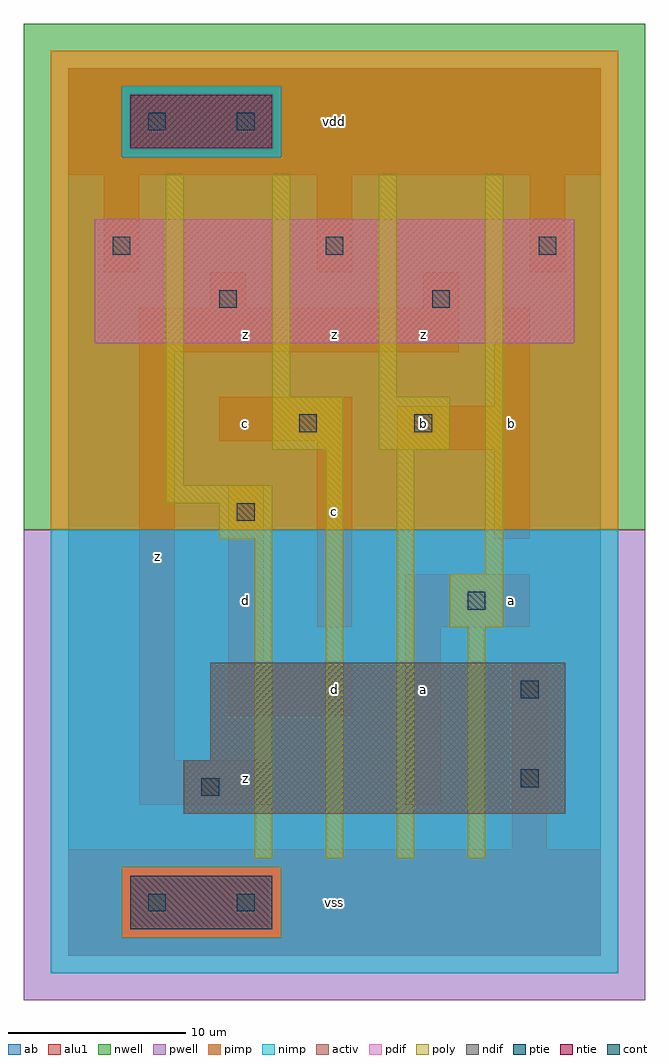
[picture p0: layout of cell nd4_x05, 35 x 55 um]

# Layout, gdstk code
import gdstk
lib = gdstk.Library(unit=1e-6, precision=1e-09)
def R(c, l, rs):  # rectangles x0, y0, x1, y1
    for r in rs: c.add(gdstk.rectangle(r[:2], r[2:], *l))
def A(c, l, x, y, w, h, nx, ny, dx, dy):  # array of equal rectangles
    R(c, l, [(x+i*dx, y+j*dy, x+i*dx+w, y+j*dy+h) for i in range(nx) for j in range(ny)])
ndif = (3, 0)
pdif = (4, 0)
ntie = (5, 0)
ptie = (6, 0)
cont = (25, 0)
pwell = (41, 0)
nwell = (42, 0)
activ = (43, 0)
pimp = (44, 0)
nimp = (45, 0)
poly = (46, 0)
alu1 = (49, 0)
ab = (63, 0)

nd4_x05 = lib.new_cell('nd4_x05')
R(nd4_x05, ndif, [(6.5,8,28,11), (8,11,28,16.5)])
R(nd4_x05, pdif, [(1.5,34.5,28.5,41.5)])
R(nd4_x05, ntie, [(3.5,45.5,11.5,48.5)])
R(nd4_x05, ptie, [(3.5,1.5,11.5,4.5)])
A(nd4_x05, cont, 9.5, 2.5, 1, 1, 1, 3, 0, 22)
A(nd4_x05, cont, 2.5, 39.5, 1, 1, 3, 1, 12, 0)
R(nd4_x05, cont, [(4.5,2.5,5.5,3.5), (7.5,9,8.5,10), (25.5,9.5,26.5,10.5), (25.5,14.5,26.5,15.5), (22.5,19.5,23.5,20.5), (13,29.5,14,30.5), (19.5,29.5,20.5,30.5), (8.5,36.5,9.5,37.5), (20.5,36.5,21.5,37.5), (4.5,46.5,5.5,47.5)])
R(nd4_x05, pwell, [(-2.5,-2.5,32.5,24)])
R(nd4_x05, nwell, [(-2.5,24,32.5,52.5)])
R(nd4_x05, activ, [(3.5,1.5,11.5,4.5), (6.5,8,28,11), (8,11,28,16.5), (1.5,34.5,28.5,41.5), (3.5,45.5,11.5,48.5)])
R(nd4_x05, pimp, [(3,1,12,5), (-1,24,31,45), (-1,45,3,49), (12,45,31,49), (-1,49,31,51)])
R(nd4_x05, nimp, [(-1,-1,31,1), (-1,1,3,5), (12,1,31,5), (-1,5,31,24), (3,45,12,49)])
R(nd4_x05, poly, [(10.5,5.5,11.5,23.5), (14.5,5.5,15.5,28.5), (18.5,5.5,19.5,28.5), (22.5,5.5,23.5,18.5), (21.5,18.5,24.5,21.5), (23.5,21.5,24.5,44), (8.5,23.5,11.5,25.5), (5.5,25.5,11.5,26.5), (5.5,26.5,6.5,44), (11.5,28.5,15.5,31.5), (17.5,28.5,21.5,31.5), (11.5,31.5,12.5,44), (17.5,31.5,18.5,44)])
R(nd4_x05, alu1, [(0,0,30,6), (0,0,30,6), (25,6,27,16.5), (25,6,27,16.5), (4,8.5,11.5,11), (4,8.5,11.5,11), (19,8.5,21,18.5), (19,8.5,21,18.5), (4,11,6,34), (4,11,6,34), (9,13.5,16,16.5), (9,13.5,16,16.5), (9,16.5,11,26.5), (9,16.5,11,26.5), (14,18.5,16,29), (14,18.5,16,29), (19,18.5,26,21.5), (19,18.5,26,21.5), (24,23.5,26,28.5), (24,23.5,26,28.5), (18.5,28.5,26,31), (18.5,28.5,26,31), (8.5,29,16,31.5), (8.5,29,16,31.5), (24,31,26,36.5), (24,31,26,36.5), (4,34,22,36.5), (4,34,22,36.5), (8,36.5,10,38.5), (8,36.5,10,38.5), (20,36.5,22,38.5), (20,36.5,22,38.5), (2,38.5,4,44), (2,38.5,4,44), (14,38.5,16,44), (14,38.5,16,44), (26,38.5,28,44), (26,38.5,28,44), (0,44,30,50), (0,44,30,50)])
R(nd4_x05, ab, [(0,0,30,50)])
nd4_x05.add(gdstk.Label('z', (5,22.5), layer=49, texttype=0))
nd4_x05.add(gdstk.Label('z', (10,10), layer=49, texttype=0))
nd4_x05.add(gdstk.Label('d', (10,20), layer=49, texttype=0))
nd4_x05.add(gdstk.Label('z', (10,35), layer=49, texttype=0))
nd4_x05.add(gdstk.Label('c', (10,30), layer=49, texttype=0))
nd4_x05.add(gdstk.Label('vss', (15,3), layer=49, texttype=0))
nd4_x05.add(gdstk.Label('d', (15,15), layer=49, texttype=0))
nd4_x05.add(gdstk.Label('a', (20,15), layer=49, texttype=0))
nd4_x05.add(gdstk.Label('c', (15,25), layer=49, texttype=0))
nd4_x05.add(gdstk.Label('z', (15,35), layer=49, texttype=0))
nd4_x05.add(gdstk.Label('z', (20,35), layer=49, texttype=0))
nd4_x05.add(gdstk.Label('b', (20,30), layer=49, texttype=0))
nd4_x05.add(gdstk.Label('vdd', (15,47), layer=49, texttype=0))
nd4_x05.add(gdstk.Label('a', (25,20), layer=49, texttype=0))
nd4_x05.add(gdstk.Label('b', (25,30), layer=49, texttype=0))

lib.write_gds('nd4_x05.gds')
